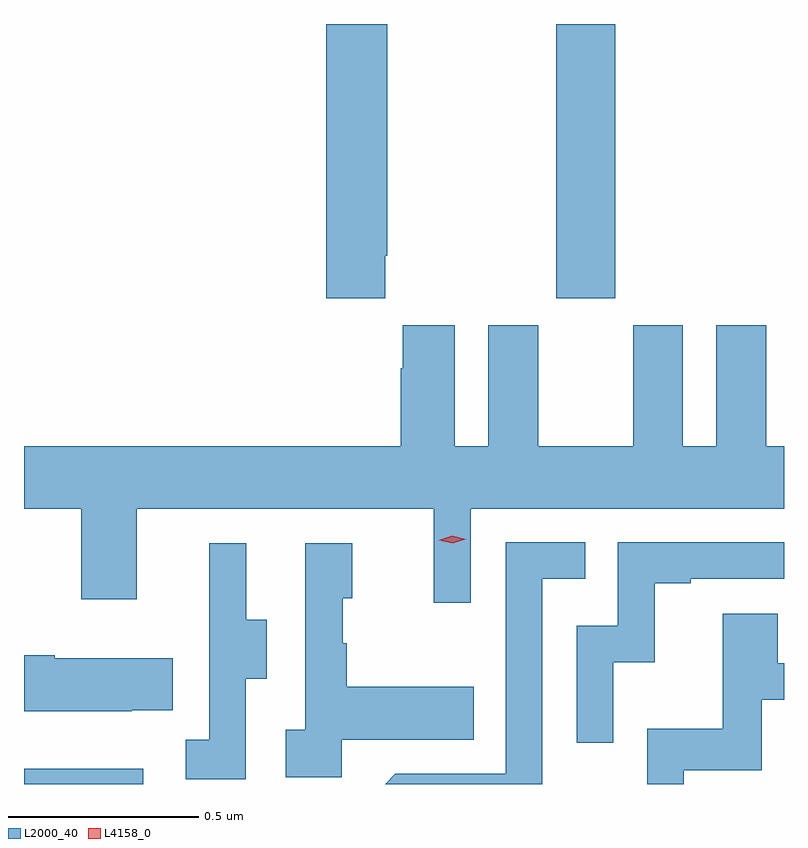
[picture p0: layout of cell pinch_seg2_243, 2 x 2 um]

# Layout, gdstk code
import gdstk
lib = gdstk.Library(unit=1e-6, precision=1e-09)
def R(c, l, rs):  # rectangles x0, y0, x1, y1
    for r in rs: c.add(gdstk.rectangle(r[:2], r[2:], *l))
def P(c, l, *ps):  # polygons
    for p in ps: c.add(gdstk.Polygon(p, *l))
L2000_40 = (2000, 40)
L4158_0 = (4158, 0)

pinch_seg2_243 = lib.new_cell('pinch_seg2_243')
R(pinch_seg2_243, L2000_40, [(927.358,658.899,927.672,658.939), (928.759,660.177,928.914,660.899)])
P(pinch_seg2_243, L2000_40, [(928.309,660.289),(928.314,660.289),(928.314,660.899),(928.154,660.899),(928.154,660.177),(928.309,660.177)],
  [(928.533,659.624),(929.358,659.624),(929.358,659.788),(929.311,659.788),(929.311,660.106),(929.18,660.106),(929.18,659.788),(929.092,659.788),(929.092,660.106),(928.961,660.106),(928.961,659.788),(928.711,659.788),(928.711,660.106),(928.58,660.106),(928.58,659.788),(928.492,659.788),(928.492,660.106),(928.355,660.106),(928.355,659.993),(928.349,659.993),(928.349,659.788),(927.358,659.788),(927.358,659.624),(927.508,659.624),(927.508,659.385),(927.655,659.385),(927.655,659.624),(928.436,659.624),(928.436,659.376),(928.533,659.376)],
  [(928.722,659.439),(928.835,659.439),(928.835,659.535),(928.626,659.535),(928.626,658.926),(928.335,658.926),(928.308,658.899),(928.722,658.899)],
  [(928.908,659.219),(929.018,659.219),(929.018,659.427),(929.113,659.427),(929.113,659.439),(929.358,659.439),(929.358,659.535),(928.92,659.535),(928.92,659.316),(928.812,659.316),(928.812,659.007),(928.908,659.007)],
  [(928.194,659.015),(928.541,659.015),(928.541,659.155),(928.207,659.155),(928.207,659.27),(928.197,659.27),(928.197,659.388),(928.222,659.388),(928.222,659.533),(928.098,659.533),(928.098,659.042),(928.047,659.042),(928.047,658.917),(928.194,658.917)],
  [(927.942,659.176),(927.997,659.176),(927.997,659.331),(927.943,659.331),(927.943,659.533),(927.845,659.533),(927.845,659.319),(927.846,659.319),(927.846,659.015),(927.783,659.015),(927.783,658.912),(927.942,658.912)],
  [(929.094,658.935),(929.299,658.935),(929.299,659.121),(929.358,659.121),(929.358,659.217),(929.341,659.217),(929.341,659.347),(929.197,659.347),(929.197,659.044),(928.998,659.044),(928.998,658.899),(929.094,658.899)],
  [(927.641,659.093),(927.749,659.093),(927.749,659.23),(927.439,659.23),(927.439,659.238),(927.358,659.238),(927.358,659.09),(927.641,659.09)])
P(pinch_seg2_243, L4158_0, [(928.486,659.532),(928.45,659.54),(928.45,659.54),(928.45,659.541),(928.485,659.552),(928.521,659.543),(928.522,659.543),(928.521,659.543)])

lib.write_gds('pinch_seg2_243.gds')
